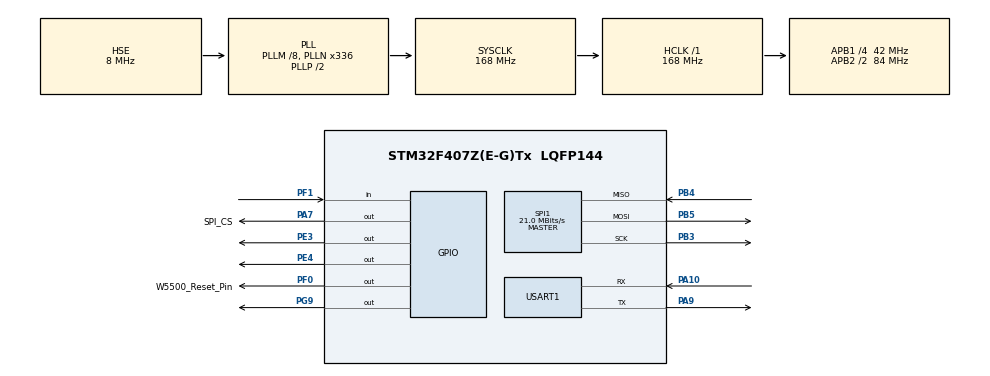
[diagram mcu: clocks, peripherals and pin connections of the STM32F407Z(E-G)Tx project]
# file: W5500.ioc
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Mcu.Family=STM32F4
Mcu.Name=STM32F407Z(E-G)Tx
Mcu.Package=LQFP144
NVIC.PriorityGroup=NVIC_PRIORITYGROUP_4
PA10.Mode=Asynchronous
PA10.Signal=USART1_RX
PA13.Mode=Serial_Wire
PA13.Signal=SYS_JTMS-SWDIO
PA14.Mode=Serial_Wire
PA14.Signal=SYS_JTCK-SWCLK
PA7.GPIO_Label=SPI_CS
PA7.GPIO_PuPd=GPIO_PULLUP
PA7.PinState=GPIO_PIN_SET
PA7.Signal=GPIO_Output
PA9.Mode=Asynchronous
PA9.Signal=USART1_TX
PB3.Mode=Full_Duplex_Master
PB3.Signal=SPI1_SCK
PB4.Mode=Full_Duplex_Master
PB4.Signal=SPI1_MISO
PB5.Mode=Full_Duplex_Master
PB5.Signal=SPI1_MOSI
PE3.Signal=GPIO_Output
PE4.Signal=GPIO_Output
PF0.GPIO_Label=W5500_Reset_Pin
PF0.GPIO_PuPd=GPIO_PULLUP
PF0.GPIO_Speed=GPIO_SPEED_FREQ_VERY_HIGH
PF0.PinState=GPIO_PIN_SET
PF0.Signal=GPIO_Output
PF1.Signal=GPIO_Input
PG9.Signal=GPIO_Output
PH0-OSC_IN.Mode=HSE-External-Oscillator
PH0-OSC_IN.Signal=RCC_OSC_IN
PH1-OSC_OUT.Mode=HSE-External-Oscillator
PH1-OSC_OUT.Signal=RCC_OSC_OUT
ProjectManager.HeapSize=0x200
ProjectManager.StackSize=0x400
ProjectManager.TargetToolchain=MDK-ARM V5
RCC.48MHZClocksFreq_Value=84000000
RCC.AHBFreq_Value=168000000
RCC.APB1CLKDivider=RCC_HCLK_DIV4
RCC.APB1Freq_Value=42000000
RCC.APB1TimFreq_Value=84000000
RCC.APB2CLKDivider=RCC_HCLK_DIV2
RCC.APB2Freq_Value=84000000
RCC.APB2TimFreq_Value=168000000
RCC.CortexFreq_Value=168000000
RCC.HCLKFreq_Value=168000000
RCC.HSE_VALUE=8000000
RCC.HSI_VALUE=16000000
RCC.LSE_VALUE=32768
RCC.PLLM=8
RCC.PLLN=336
RCC.PLLSourceVirtual=RCC_PLLSOURCE_HSE
RCC.SYSCLKFreq_VALUE=168000000
RCC.SYSCLKSource=RCC_SYSCLKSOURCE_PLLCLK
RCC.VCOOutputFreq_Value=336000000
SPI1.BaudRatePrescaler=SPI_BAUDRATEPRESCALER_4
SPI1.CLKPhase=SPI_PHASE_2EDGE
SPI1.CLKPolarity=SPI_POLARITY_HIGH
SPI1.CalculateBaudRate=21.0 MBits/s
SPI1.Direction=SPI_DIRECTION_2LINES
SPI1.Mode=SPI_MODE_MASTER
SPI1.VirtualType=VM_MASTER
TIM7.Prescaler=83
USART1.VirtualMode=VM_ASYNC
VP_TIM7_VS_ClockSourceINT.Mode=Enable_Timer
board=custom

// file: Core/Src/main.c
/* USER CODE BEGIN Header */
/**
  ******************************************************************************
  * @file           : main.c
  * @brief          : Main program body
  ******************************************************************************
  * @attention
  *
  * <h2><center>&copy; Copyright (c) 2022 STMicroelectronics.
  * All rights reserved.</center></h2>
  *
  * This software component is licensed by ST under BSD 3-Clause license,
  * the "License"; You may not use this file except in compliance with the
  * License. You may obtain a copy of the License at:
  *                        opensource.org/licenses/BSD-3-Clause
  *
  ******************************************************************************
  */
/* USER CODE END Header */
#include "main.h"
#include "spi.h"
#include "tim.h"
#include "usart.h"
#include "gpio.h"

/* USER CODE BEGIN Includes */
#include "utility.h"
#include "socket.h"	// Just include one header for WIZCHIP
#include "string.h"
#include "stdio.h"
#include "w5500.h"
#include "W5500_conf.h"
#include "utility.h"
/*app函数头文件*/
#include "tcp_demo.h"
/* USER CODE END Includes */

void SystemClock_Config(void);

int main(void)
{

  /* MCU Configuration--------------------------------------------------------*/

  /* Reset of all peripherals, Initializes the Flash interface and the Systick. */
  HAL_Init();

  /* Configure the system clock */
  SystemClock_Config();

  /* Initialize all configured peripherals */
  MX_GPIO_Init();
  MX_SPI1_Init();
  MX_TIM7_Init();
  MX_USART1_UART_Init();
  /* USER CODE BEGIN 2 */
	printf("  野火网络适配版 网络初始化 Demo V1.0 \r\n");

	gpio_for_w5500_config();						        /*初始化MCU相关引脚*/
	reset_w5500();											/*硬复位W5500*/
	set_w5500_mac();										/*配置MAC地址*/
	set_w5500_ip();											/*配置IP地址*/

	socket_buf_init(txsize, rxsize);		/*初始化8个Socket的发送接收缓存大小*/

	printf(" 电脑作为TCP服务器,让W5500作为 TCP客户端去连接 \r\n");
	printf(" 服务器IP:%d.%d.%d.%d\r\n",remote_ip[0],remote_ip[1],remote_ip[2],remote_ip[3]);
	printf(" 监听端口:%d \r\n",remote_port);
	printf(" 连接成功后，服务器发送数据给W5500，W5500将返回对应数据 \r\n");
	printf(" 应用程序执行中……\r\n");
  /* USER CODE END 2 */

  /* Infinite loop */
  while (1)
  {

    /* USER CODE BEGIN 3 */
	do_tcp_client();                  /*TCP_Client 数据回环测试程序*/

  }
  /* USER CODE END 3 */
}

void SystemClock_Config(void)
{
  RCC_OscInitTypeDef RCC_OscInitStruct = {0};
  RCC_ClkInitTypeDef RCC_ClkInitStruct = {0};

  /** Configure the main internal regulator output voltage
  */
  __HAL_RCC_PWR_CLK_ENABLE();
  __HAL_PWR_VOLTAGESCALING_CONFIG(PWR_REGULATOR_VOLTAGE_SCALE1);
  /** Initializes the RCC Oscillators according to the specified parameters
  * in the RCC_OscInitTypeDef structure.
  */
  RCC_OscInitStruct.OscillatorType = RCC_OSCILLATORTYPE_HSE;
  RCC_OscInitStruct.HSEState = RCC_HSE_ON;
  RCC_OscInitStruct.PLL.PLLState = RCC_PLL_ON;
  RCC_OscInitStruct.PLL.PLLSource = RCC_PLLSOURCE_HSE;
  RCC_OscInitStruct.PLL.PLLM = 8;
  RCC_OscInitStruct.PLL.PLLN = 336;
  RCC_OscInitStruct.PLL.PLLP = RCC_PLLP_DIV2;
  RCC_OscInitStruct.PLL.PLLQ = 4;
  if (HAL_RCC_OscConfig(&RCC_OscInitStruct) != HAL_OK)
  {
    Error_Handler();
  }
  /** Initializes the CPU, AHB and APB buses clocks
  */
  RCC_ClkInitStruct.ClockType = RCC_CLOCKTYPE_HCLK|RCC_CLOCKTYPE_SYSCLK
                              |RCC_CLOCKTYPE_PCLK1|RCC_CLOCKTYPE_PCLK2;
  RCC_ClkInitStruct.SYSCLKSource = RCC_SYSCLKSOURCE_PLLCLK;
  RCC_ClkInitStruct.AHBCLKDivider = RCC_SYSCLK_DIV1;
  RCC_ClkInitStruct.APB1CLKDivider = RCC_HCLK_DIV4;
  RCC_ClkInitStruct.APB2CLKDivider = RCC_HCLK_DIV2;

  if (HAL_RCC_ClockConfig(&RCC_ClkInitStruct, FLASH_LATENCY_5) != HAL_OK)
  {
    Error_Handler();
  }
}

void Error_Handler(void)
{
  __disable_irq();
  while (1)
  {
  }
}

/************************ (C) COPYRIGHT STMicroelectronics *****END OF FILE****/
